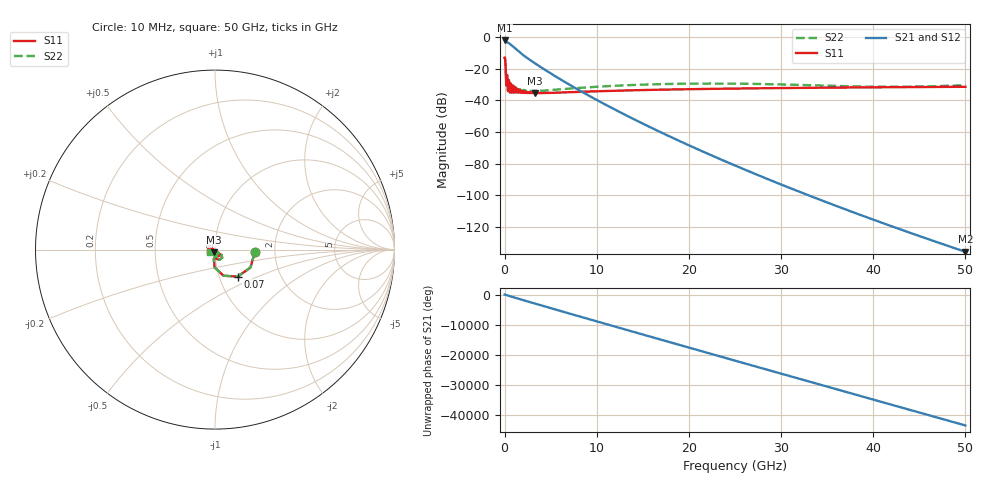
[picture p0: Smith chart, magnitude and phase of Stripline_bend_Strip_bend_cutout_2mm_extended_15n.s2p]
! Touchstone file exported from HFSS 3D Layout Design 2025.1.0
!  File:  /vlsi/proj/neon/be/die0/users/eduard.sonkin/Ansys/Ansys/UCIE/Stripline/Stripline_bend.aedt
!  Generated:  08:30:45 PM Mar 19, 2025
!  Design:  Strip_bend_cutout_2mm_extended_5_10_inch
!  Project:  Stripline_bend
!  Setup:  Setup1
!  Solution:  Sweep1
! Variables:
!  $Tline = 18um
!  $Yspace = 69
!  apDia = 50mil
!  padDia = 30mil
!  viaDia = 20mil
!  w50strip = 12.4mil
!  w50ustrip = 50mil
# GHz S MA R 50.000000
! Terminal data exported
! Port[1] = Port1
! Port[2] = Port2
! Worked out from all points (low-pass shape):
!   5000 points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, 10 MHz to 50 GHz, reference 50 ohm
!   highest |S21| = -2.18 dB at 10 MHz (marker M1); lowest = -135.8 dB at 50 GHz (marker M2)
!   |S21| within 3 dB of the highest: start of sweep to 756.1 MHz
!   lowest |S11| = -35.5 dB at 3.34 GHz (marker M3), VSWR 1.03, Z = 49.5 - j1.59 ohm
!   |S11| at or under -10 dB: start of sweep to end of sweep
!   |S22| runs from -35.0 to -13.0 dB; largest |S21 - S12| = 1.3e-14
!   S11 on the Smith chart (normalised r, x): 10 MHz: 1.57, -0.05; 70 MHz: 1.22, -0.38; 50 GHz: 0.95, -0.02
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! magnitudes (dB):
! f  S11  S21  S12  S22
! 10 MHz  -13.1  -2.2  -2.2  -13.1
! 70 MHz  -14.2  -2.6  -2.6  -14.2
! 380 MHz  -34.1  -3.6  -3.6  -34.1
! 480 MHz  -27.5  -3.9  -3.9  -27.4
! 570 MHz  -35.1  -4.3  -4.3  -35.0
! 670 MHz  -29.3  -4.8  -4.8  -29.2
! 770 MHz  -35.1  -5.3  -5.3  -34.9
! 860 MHz  -30.6  -5.7  -5.7  -30.3
! 970 MHz  -34.9  -6.3  -6.3  -34.6
! 1.05 GHz  -31.5  -6.7  -6.7  -31.2
! 1.16 GHz  -35.1  -7.3  -7.3  -34.7
! 1.75 GHz  -35.2  -10.2  -10.2  -34.6
! 3.34 GHz  -35.5  -16.8  -16.8  -34.3
! 5.73 GHz  -35.2  -25.6  -25.6  -33.2
! 8.35 GHz  -34.6  -34.5  -34.5  -32.1
! 12.31 GHz  -33.9  -46.9  -46.9  -30.7
! 16.68 GHz  -33.3  -59.5  -59.5  -29.8
! 24.27 GHz  -32.6  -79.4  -79.4  -29.4
! 25.01 GHz  -32.6  -81.2  -81.2  -29.5
! 33.34 GHz  -32.1  -100.9  -100.9  -30.5
! 41.67 GHz  -31.7  -118.9  -118.9  -31.5
! 50 GHz  -31.5  -135.8  -135.8  -30.5
